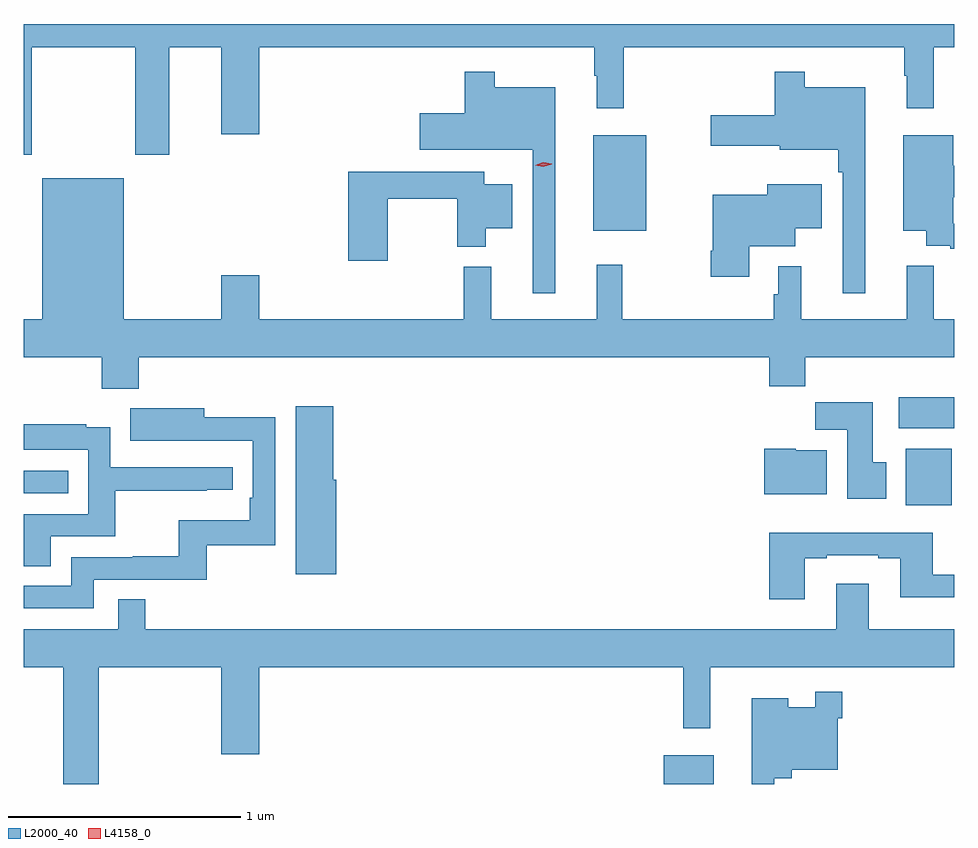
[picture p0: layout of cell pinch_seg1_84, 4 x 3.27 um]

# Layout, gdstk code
import gdstk
lib = gdstk.Library(unit=1e-6, precision=1e-09)
def R(c, l, rs):  # rectangles x0, y0, x1, y1
    for r in rs: c.add(gdstk.rectangle(r[:2], r[2:], *l))
def P(c, l, *ps):  # polygons
    for p in ps: c.add(gdstk.Polygon(p, *l))
L2000_40 = (2000, 40)
L4158_0 = (4158, 0)

pinch_seg1_84 = lib.new_cell('pinch_seg1_84')
R(pinch_seg1_84, L2000_40, [(1066.01,580.534,1066.225,580.657), (1067.051,581.732,1067.248,581.974), (1063.259,581.784,1063.451,581.88), (1067.019,582.062,1067.259,582.196), (1065.707,582.911,1065.934,583.321)])
P(pinch_seg1_84, L2000_40, [(1063.293,583.7),(1063.738,583.7),(1063.738,583.239),(1063.885,583.239),(1063.885,583.7),(1064.108,583.7),(1064.108,583.326),(1064.272,583.326),(1064.272,583.7),(1065.711,583.7),(1065.711,583.577),(1065.722,583.577),(1065.722,583.437),(1065.839,583.437),(1065.839,583.7),(1067.043,583.7),(1067.043,583.577),(1067.054,583.577),(1067.054,583.437),(1067.171,583.437),(1067.171,583.7),(1067.259,583.7),(1067.259,583.8),(1063.259,583.8),(1063.259,583.239),(1063.293,583.239)],
  [(1065.544,583.528),(1065.283,583.528),(1065.283,583.594),(1065.154,583.594),(1065.154,583.417),(1064.961,583.417),(1064.961,583.259),(1065.447,583.259),(1065.447,582.642),(1065.544,582.642)],
  [(1066.876,583.528),(1066.615,583.528),(1066.615,583.594),(1066.486,583.594),(1066.486,583.407),(1066.212,583.407),(1066.212,583.277),(1066.509,583.277),(1066.509,583.259),(1066.759,583.259),(1066.759,583.163),(1066.779,583.163),(1066.779,582.642),(1066.876,582.642)],
  [(1067.259,582.942),(1067.254,582.942),(1067.254,583.055),(1067.259,583.055),(1067.259,583.19),(1067.254,583.19),(1067.254,583.321),(1067.039,583.321),(1067.039,582.911),(1067.138,582.911),(1067.138,582.846),(1067.242,582.846),(1067.242,582.834),(1067.259,582.834)],
  [(1064.824,583.048),(1065.122,583.048),(1065.122,582.842),(1065.244,582.842),(1065.244,582.923),(1065.358,582.923),(1065.358,583.111),(1065.238,583.111),(1065.238,583.164),(1064.654,583.164),(1064.654,582.783),(1064.824,582.783)],
  [(1063.754,582.368),(1066.463,582.368),(1066.463,582.244),(1066.619,582.244),(1066.619,582.368),(1067.259,582.368),(1067.259,582.532),(1067.171,582.532),(1067.171,582.761),(1067.054,582.761),(1067.054,582.532),(1066.601,582.532),(1066.601,582.76),(1066.503,582.76),(1066.503,582.639),(1066.483,582.639),(1066.483,582.532),(1065.832,582.532),(1065.832,582.766),(1065.722,582.766),(1065.722,582.532),(1065.269,582.532),(1065.269,582.757),(1065.151,582.757),(1065.151,582.532),(1064.272,582.532),(1064.272,582.721),(1064.108,582.721),(1064.108,582.532),(1063.69,582.532),(1063.69,583.138),(1063.34,583.138),(1063.34,582.532),(1063.259,582.532),(1063.259,582.368),(1063.594,582.368),(1063.594,582.233),(1063.754,582.233)],
  [(1066.378,582.845),(1066.576,582.845),(1066.576,582.923),(1066.69,582.923),(1066.69,583.111),(1066.454,583.111),(1066.454,583.066),(1066.22,583.066),(1066.22,582.826),(1066.213,582.826),(1066.213,582.714),(1066.378,582.714)],
  [(1066.966,581.916),(1066.909,581.916),(1066.909,582.175),(1066.66,582.175),(1066.66,582.056),(1066.799,582.056),(1066.799,581.76),(1066.966,581.76)],
  [(1064.602,581.841),(1064.59,581.841),(1064.59,582.157),(1064.429,582.157),(1064.429,581.436),(1064.602,581.436)],
  [(1063.56,581.412),(1064.047,581.412),(1064.047,581.559),(1064.34,581.559),(1064.34,582.11),(1064.035,582.11),(1064.035,582.148),(1063.717,582.148),(1063.717,582.008),(1063.931,582.008),(1063.931,582.009),(1064.244,582.009),(1064.244,581.764),(1064.231,581.764),(1064.231,581.668),(1063.926,581.668),(1063.926,581.513),(1063.729,581.513),(1063.729,581.508),(1063.464,581.508),(1063.464,581.385),(1063.259,581.385),(1063.259,581.289),(1063.56,581.289)],
  [(1063.375,581.598),(1063.652,581.598),(1063.652,581.794),(1064.045,581.794),(1064.045,581.799),(1064.158,581.799),(1064.158,581.895),(1063.632,581.895),(1063.632,582.067),(1063.529,582.067),(1063.529,582.079),(1063.259,582.079),(1063.259,581.97),(1063.536,581.97),(1063.536,581.694),(1063.259,581.694),(1063.259,581.47),(1063.375,581.47)],
  [(1066.711,581.968),(1066.578,581.968),(1066.578,581.974),(1066.442,581.974),(1066.442,581.78),(1066.711,581.78)],
  [(1066.615,581.505),(1066.711,581.505),(1066.711,581.517),(1066.931,581.517),(1066.931,581.505),(1067.027,581.505),(1067.027,581.336),(1067.259,581.336),(1067.259,581.433),(1067.167,581.433),(1067.167,581.614),(1066.463,581.614),(1066.463,581.328),(1066.615,581.328)],
  [(1063.583,581.036),(1064.108,581.036),(1064.108,580.662),(1064.272,580.662),(1064.272,581.036),(1066.093,581.036),(1066.093,580.773),(1066.21,580.773),(1066.21,581.036),(1067.259,581.036),(1067.259,581.2),(1066.891,581.2),(1066.891,581.395),(1066.751,581.395),(1066.751,581.2),(1063.781,581.2),(1063.781,581.327),(1063.665,581.327),(1063.665,581.2),(1063.259,581.2),(1063.259,581.036),(1063.43,581.036),(1063.43,580.534),(1063.583,580.534)],
  [(1066.485,580.559),(1066.559,580.559),(1066.559,580.595),(1066.758,580.595),(1066.758,580.817),(1066.778,580.817),(1066.778,580.93),(1066.662,580.93),(1066.662,580.864),(1066.546,580.864),(1066.546,580.903),(1066.388,580.903),(1066.388,580.534),(1066.485,580.534)])
P(pinch_seg1_84, L4158_0, [(1065.493,583.186),(1065.457,583.193),(1065.457,583.193),(1065.457,583.193),(1065.492,583.206),(1065.528,583.199),(1065.528,583.198),(1065.528,583.198)])

lib.write_gds('pinch_seg1_84.gds')
